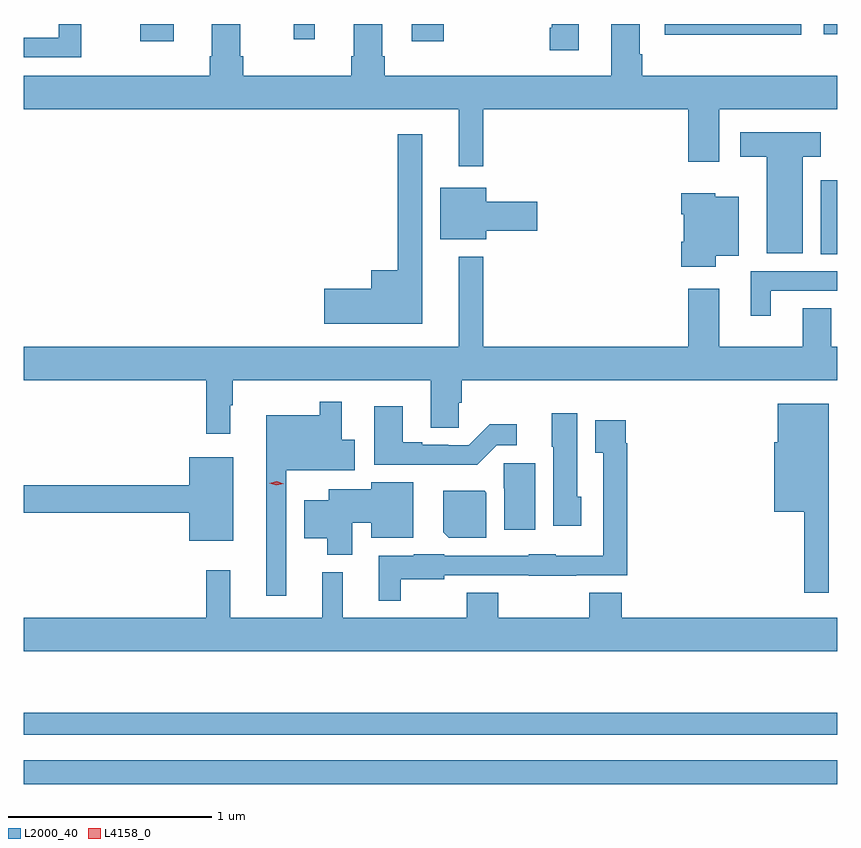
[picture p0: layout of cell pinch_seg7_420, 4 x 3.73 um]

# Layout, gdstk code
import gdstk
lib = gdstk.Library(unit=1e-6, precision=1e-09)
def R(c, l, rs):  # rectangles x0, y0, x1, y1
    for r in rs: c.add(gdstk.rectangle(r[:2], r[2:], *l))
def P(c, l, *ps):  # polygons
    for p in ps: c.add(gdstk.Polygon(p, *l))
L2000_40 = (2000, 40)
L4158_0 = (4158, 0)

pinch_seg7_420 = lib.new_cell('pinch_seg7_420')
R(pinch_seg7_420, L2000_40, [(335.259,1053.244,339.259,1053.36), (335.259,1053.486,339.259,1053.595), (339.176,1055.848,339.259,1056.211), (335.833,1056.894,335.998,1056.979), (337.166,1056.894,337.325,1056.979), (336.586,1056.903,336.689,1056.979), (338.409,1056.926,339.082,1056.979), (339.192,1056.929,339.259,1056.979)])
P(pinch_seg7_420, L2000_40, [(337.987,1056.979),(337.856,1056.979),(337.856,1056.961),(337.844,1056.961),(337.844,1056.849),(337.987,1056.849)],
  [(335.542,1056.979),(335.433,1056.979),(335.433,1056.912),(335.259,1056.912),(335.259,1056.816),(335.542,1056.816)],
  [(337.519,1056.56),(338.525,1056.56),(338.525,1056.303),(338.677,1056.303),(338.677,1056.56),(339.259,1056.56),(339.259,1056.724),(338.3,1056.724),(338.3,1056.83),(338.287,1056.83),(338.287,1056.979),(338.147,1056.979),(338.147,1056.724),(337.034,1056.724),(337.034,1056.82),(337.021,1056.82),(337.021,1056.979),(336.881,1056.979),(336.881,1056.82),(336.869,1056.82),(336.869,1056.724),(336.338,1056.724),(336.338,1056.82),(336.325,1056.82),(336.325,1056.979),(336.185,1056.979),(336.185,1056.82),(336.173,1056.82),(336.173,1056.724),(335.259,1056.724),(335.259,1056.56),(337.397,1056.56),(337.397,1056.279),(337.519,1056.279)],
  [(339.088,1056.326),(339.178,1056.326),(339.178,1056.448),(338.781,1056.448),(338.781,1056.326),(338.912,1056.326),(338.912,1055.852),(339.088,1055.852)],
  [(337.219,1056.436),(337.098,1056.436),(337.098,1055.77),(336.968,1055.77),(336.968,1055.678),(336.738,1055.678),(336.738,1055.507),(337.219,1055.507)],
  [(337.534,1055.963),(337.783,1055.963),(337.783,1056.105),(337.534,1056.105),(337.534,1056.175),(337.307,1056.175),(337.307,1055.921),(337.534,1055.921)],
  [(338.662,1055.84),(338.773,1055.84),(338.773,1056.13),(338.658,1056.13),(338.658,1056.148),(338.492,1056.148),(338.492,1056.044),(338.504,1056.044),(338.504,1055.908),(338.492,1055.908),(338.492,1055.786),(338.662,1055.786)],
  [(336.274,1055.105),(336.286,1055.105),(336.286,1055.228),(337.259,1055.228),(337.259,1054.996),(337.398,1054.996),(337.398,1055.118),(337.412,1055.118),(337.412,1055.228),(339.259,1055.228),(339.259,1055.392),(339.229,1055.392),(339.229,1055.582),(339.089,1055.582),(339.089,1055.392),(338.677,1055.392),(338.677,1055.677),(338.525,1055.677),(338.525,1055.392),(337.519,1055.392),(337.519,1055.836),(337.397,1055.836),(337.397,1055.392),(335.259,1055.392),(335.259,1055.228),(336.157,1055.228),(336.157,1054.965),(336.274,1054.965)],
  [(338.932,1055.667),(339.259,1055.667),(339.259,1055.763),(338.834,1055.763),(338.834,1055.544),(338.932,1055.544)],
  [(336.549,1054.787),(336.886,1054.787),(336.886,1054.935),(336.823,1054.935),(336.823,1055.122),(336.714,1055.122),(336.714,1055.056),(336.452,1055.056),(336.452,1054.17),(336.549,1054.17)],
  [(339.217,1055.113),(338.966,1055.113),(338.966,1054.923),(338.948,1054.923),(338.948,1054.583),(339.096,1054.583),(339.096,1054.185),(339.217,1054.185)],
  [(337.584,1054.908),(337.684,1054.908),(337.684,1055.011),(337.549,1055.011),(337.446,1054.908),(337.346,1054.908),(337.346,1054.911),(337.219,1054.911),(337.219,1054.924),(337.123,1054.924),(337.123,1055.101),(336.983,1055.101),(336.983,1054.814),(337.489,1054.814)],
  [(337.999,1054.656),(337.981,1054.656),(337.981,1055.065),(337.856,1055.065),(337.856,1054.902),(337.862,1054.902),(337.862,1054.512),(337.999,1054.512)],
  [(337.114,1054.25),(337.326,1054.25),(337.326,1054.269),(337.743,1054.269),(337.743,1054.268),(337.975,1054.268),(337.975,1054.269),(338.225,1054.269),(338.225,1054.919),(338.218,1054.919),(338.218,1055.032),(338.069,1055.032),(338.069,1054.871),(338.109,1054.871),(338.109,1054.366),(337.875,1054.366),(337.875,1054.372),(337.743,1054.372),(337.743,1054.365),(337.326,1054.365),(337.326,1054.372),(337.176,1054.372),(337.176,1054.366),(337.004,1054.366),(337.004,1054.145),(337.114,1054.145)],
  [(336.289,1054.849),(336.074,1054.849),(336.074,1054.712),(335.259,1054.712),(335.259,1054.576),(336.074,1054.576),(336.074,1054.439),(336.289,1054.439)],
  [(337.774,1054.821),(337.618,1054.821),(337.618,1054.698),(337.622,1054.698),(337.622,1054.494),(337.774,1054.494)],
  [(336.874,1054.529),(336.968,1054.529),(336.968,1054.454),(337.174,1054.454),(337.174,1054.726),(336.968,1054.726),(336.968,1054.693),(336.758,1054.693),(336.758,1054.639),(336.638,1054.639),(336.638,1054.451),(336.752,1054.451),(336.752,1054.37),(336.874,1054.37)],
  [(337.534,1054.676),(337.526,1054.684),(337.322,1054.684),(337.322,1054.48),(337.348,1054.454),(337.534,1054.454)],
  [(339.259,1054.06),(338.198,1054.06),(338.198,1054.184),(338.038,1054.184),(338.038,1054.06),(337.593,1054.06),(337.593,1054.184),(337.438,1054.184),(337.438,1054.06),(336.827,1054.06),(336.827,1054.285),(336.728,1054.285),(336.728,1054.06),(336.275,1054.06),(336.275,1054.294),(336.157,1054.294),(336.157,1054.06),(335.259,1054.06),(335.259,1053.896),(339.259,1053.896)])
P(pinch_seg7_420, L4158_0, [(336.502,1054.711),(336.467,1054.723),(336.467,1054.723),(336.467,1054.723),(336.503,1054.731),(336.538,1054.719),(336.538,1054.719),(336.538,1054.719)])

lib.write_gds('pinch_seg7_420.gds')
